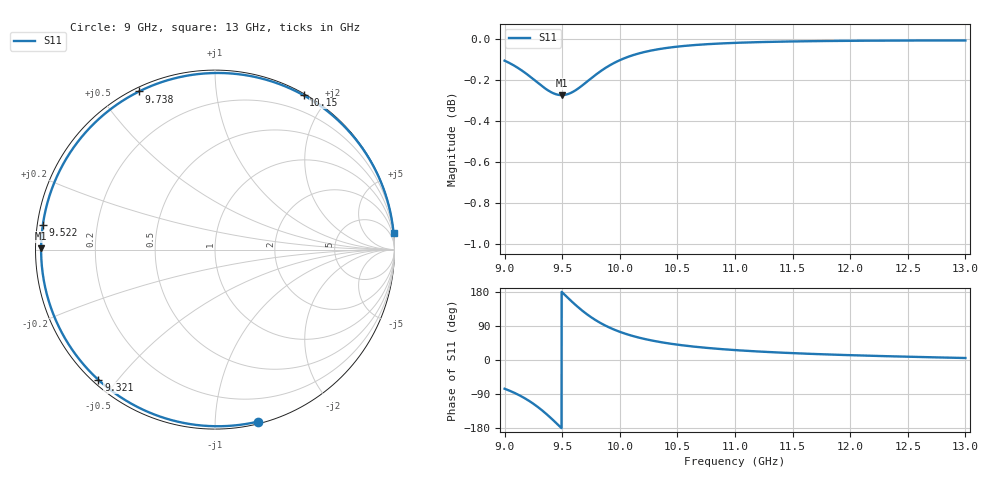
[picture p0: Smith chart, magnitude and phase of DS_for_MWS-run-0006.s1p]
! TOUCHSTONE file generated by CST DESIGN STUDIO
! Date and time: Tue Feb  4 12:39:08 2025
! Project name: C:\Work\MatlabApps\UnitCellOptimizationMatlab\CST\unitcell.cst
! Tree item: Tasks\Sweep1\SPara1\S-Parameters
! Header version: 2024
! Port assignment regex: !\s*Touchstone port\s*([0-9]+)\s*=\s*(CST MWS port|CST DES external port|CST DES block port)\s*(.+)\s* \(\"(.*)\"\)(\s*mode\s*([0-9]+))?.*
! Touchstone port assignment:
! Touchstone port 1 = CST DES external port 1 ("")
# GHz S MA R 50
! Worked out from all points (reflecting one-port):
!   4001 points, 9 GHz to 13 GHz, reference 50 ohm
!   lowest |S11| = -0.3 dB at 9.496 GHz (marker M1), VSWR 63.35, Z = 0.789 + j0.192 ohm
!   phase of S11 starts at -76 deg and turns -279 deg over the sweep
!   S11 on the Smith chart (normalised r, x): 9 GHz: 0.02, -1.28; 9.321 GHz: 0.02, -0.45; 9.522 GHz: 0.02, +0.07; 9.738 GHz: 0.02, +0.63; 10.15 GHz: 0.02, +1.73; 13 GHz: 0, +22
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9  0.9878 -75.9
9.084  0.985 -86.5
9.185  0.9808 -102.7
9.256  0.9773 -116.8
9.321  0.974 -131.8
9.368  0.9719 -143.9
9.417  0.9701 -157.4
9.457  0.9692 -169.0
9.496  0.9689 179.6
9.5  0.9689 178.4
9.522  0.9691 171.9
9.575  0.9701 156.6
9.635  0.9724 140.2
9.686  0.9748 127.4
9.738  0.9774 115.6
9.791  0.98 105.0
9.85  0.9827 94.7
9.924  0.9856 83.7
10  0.9881 74.4
10.152  0.9916 60.1
10.31  0.9939 49.6
10.5  0.9956 40.5
10.722  0.9968 32.9
11  0.9977 26.2
11.5  0.9985 18.1
12  0.9988 12.7
12.5  0.999 8.6
13  0.999 5.2
